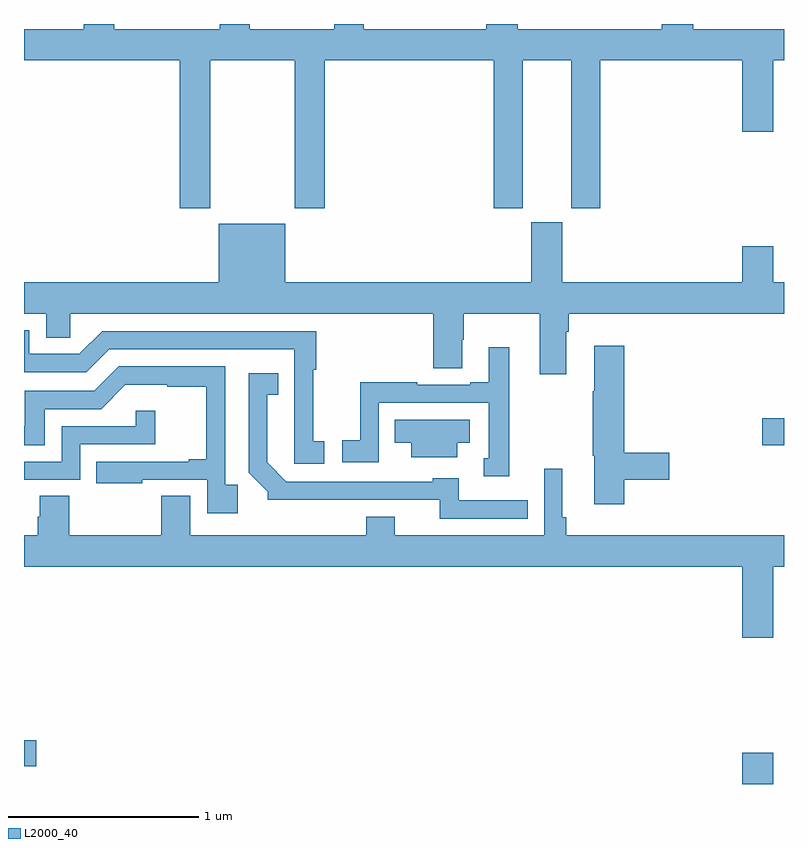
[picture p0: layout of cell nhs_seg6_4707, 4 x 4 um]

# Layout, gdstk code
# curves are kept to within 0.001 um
import gdstk
lib = gdstk.Library(unit=1e-6, precision=1e-09)
def R(c, l, rs):  # rectangles x0, y0, x1, y1
    for r in rs: c.add(gdstk.rectangle(r[:2], r[2:], *l))
def P(c, l, *ps):  # polygons
    for p in ps: c.add(gdstk.Polygon(p, *l))
L2000_40 = (2000, 40)

nhs_seg6_4707 = lib.new_cell('nhs_seg6_4707')
R(nhs_seg6_4707, L2000_40, [(392.78,971.5,392.944,971.665), (389,971.594,389.065,971.729), (392.886,973.282,393,973.424)])
P(nhs_seg6_4707, L2000_40, [(389.979,975.308),(390.424,975.308),(390.424,974.529),(390.584,974.529),(390.584,975.308),(391.472,975.308),(391.472,974.529),(391.624,974.529),(391.624,975.308),(391.88,975.308),(391.88,974.529),(392.033,974.529),(392.033,975.308),(392.78,975.308),(392.78,974.934),(392.944,974.934),(392.944,975.308),(393,975.308),(393,975.472),(392.522,975.472),(392.522,975.5),(392.357,975.5),(392.357,975.472),(391.598,975.472),(391.598,975.5),(391.433,975.5),(391.433,975.472),(390.789,975.472),(390.789,975.5),(390.634,975.5),(390.634,975.472),(390.189,975.472),(390.189,975.5),(390.029,975.5),(390.029,975.472),(389.474,975.472),(389.474,975.5),(389.314,975.5),(389.314,975.472),(389,975.472),(389,975.308),(389.819,975.308),(389.819,974.529),(389.979,974.529)],
  [(391.855,973.88),(391.868,973.88),(391.868,973.976),(393,973.976),(393,974.14),(392.944,974.14),(392.944,974.329),(392.78,974.329),(392.78,974.14),(391.834,974.14),(391.834,974.457),(391.67,974.457),(391.67,974.14),(390.376,974.14),(390.376,974.449),(390.026,974.449),(390.026,974.14),(389,974.14),(389,973.976),(389.117,973.976),(389.117,973.849),(389.244,973.849),(389.244,973.976),(391.154,973.976),(391.154,973.687),(391.306,973.687),(391.306,973.838),(391.314,973.838),(391.314,973.976),(391.715,973.976),(391.715,973.656),(391.855,973.656)],
  [(390.58,973.305),(390.522,973.305),(390.522,973.681),(390.539,973.681),(390.539,973.884),(389.412,973.884),(389.292,973.764),(389.028,973.764),(389.028,973.887),(389,973.887),(389,973.668),(389.328,973.668),(389.448,973.788),(390.423,973.788),(390.422,973.185),(390.58,973.185)],
  [(392.159,973.102),(392.395,973.102),(392.395,973.244),(392.159,973.244),(392.159,973.807),(392,973.807),(392,973.568),(391.993,973.568),(391.993,973.227),(392,973.227),(392,972.972),(392.159,972.972)],
  [(391.555,973.798),(391.445,973.798),(391.445,973.615),(391.349,973.615),(391.349,973.602),(391.07,973.602),(391.07,973.615),(390.769,973.615),(390.769,973.31),(390.675,973.31),(390.675,973.194),(390.867,973.194),(390.867,973.506),(391.446,973.506),(391.446,973.215),(391.421,973.215),(391.421,973.121),(391.555,973.121)],
  [(390.125,973.075),(390.06,973.075),(390.06,973.698),(389.499,973.698),(389.37,973.569),(389.003,973.569),(389.003,973.386),(389,973.386),(389,973.282),(389.11,973.282),(389.11,973.473),(389.406,973.473),(389.534,973.601),(389.753,973.601),(389.753,973.59),(389.959,973.59),(389.959,973.21),(389.867,973.21),(389.867,973.197),(389.38,973.197),(389.38,973.082),(389.623,973.082),(389.623,973.101),(389.964,973.101),(389.964,972.924),(390.125,972.924)],
  [(391.652,972.993),(391.288,972.993),(391.288,973.108),(391.152,973.108),(391.152,973.092),(390.381,973.092),(390.28,973.193),(390.28,973.55),(390.338,973.55),(390.338,973.663),(390.183,973.663),(390.183,973.138),(390.282,973.039),(390.282,972.995),(391.189,972.996),(391.189,972.897),(391.652,972.897)],
  [(389.295,973.287),(389.69,973.287),(389.69,973.465),(389.589,973.465),(389.589,973.383),(389.199,973.383),(389.199,973.197),(389,973.197),(389,973.101),(389.295,973.101)],
  [(391.279,973.295),(391.345,973.295),(391.345,973.417),(390.952,973.417),(390.952,973.295),(391.037,973.295),(391.037,973.22),(391.279,973.22)],
  [(392.944,972.644),(393,972.644),(393,972.808),(391.853,972.808),(391.853,972.904),(391.834,972.904),(391.834,973.159),(391.737,973.159),(391.737,972.808),(390.952,972.808),(390.952,972.907),(390.8,972.907),(390.8,972.808),(389.875,972.808),(389.875,973.016),(389.723,973.016),(389.723,972.808),(389.237,972.808),(389.237,973.016),(389.084,973.016),(389.084,972.906),(389.072,972.906),(389.072,972.808),(389,972.808),(389,972.644),(392.78,972.644),(392.78,972.27),(392.944,972.27)])

lib.write_gds('nhs_seg6_4707.gds')
